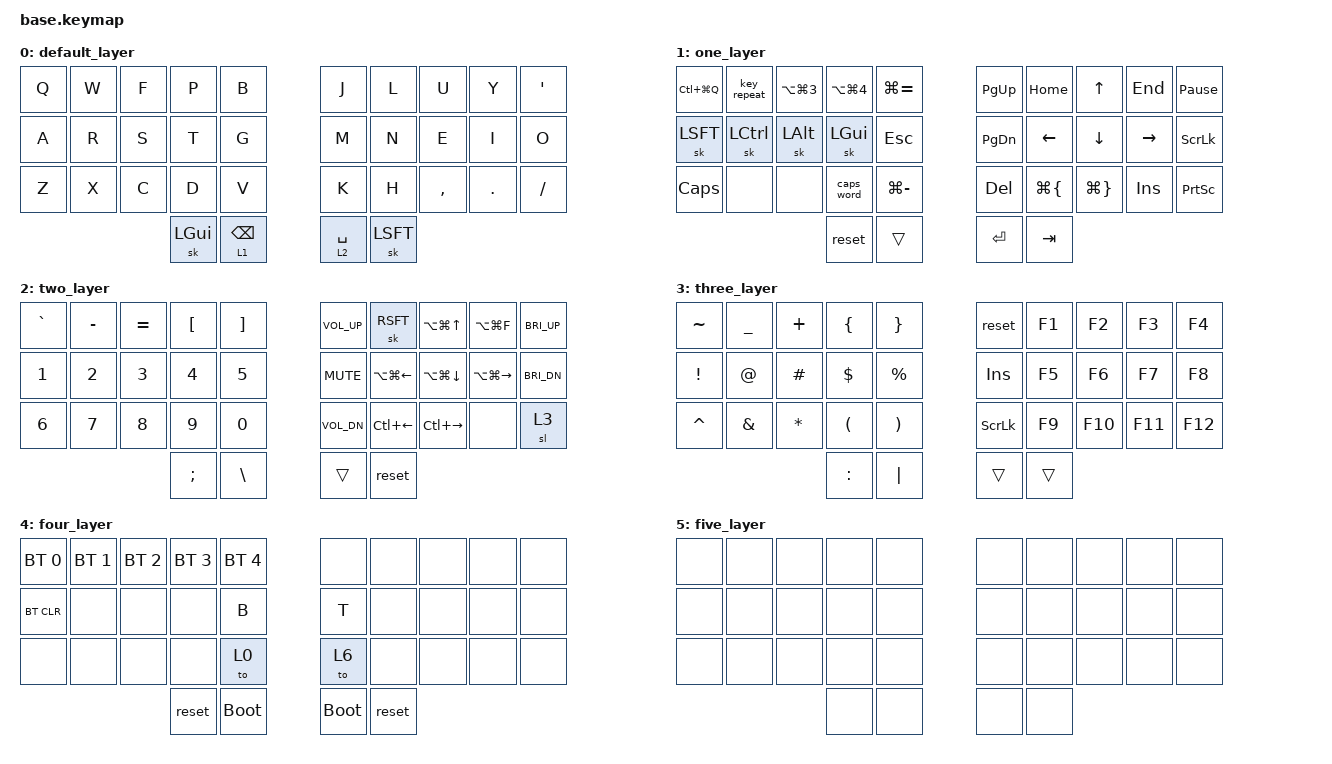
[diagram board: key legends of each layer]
/*
 * Copyright (c) 2020 The ZMK Contributors
 *
 * SPDX-License-Identifier: MIT
 */

#include <behaviors.dtsi>
#include <dt-bindings/zmk/keys.h>
#include <dt-bindings/zmk/bt.h>


&lt {
    flavor = "tap-preferred";
    tapping-term-ms = <250>;
    quick-tap-ms = <0>;
};

&caps_word {    
    continue-list = <BACKSPACE UNDERSCORE MINUS N1 N2 N3 N4 N5 N6 N7 N8 N9 N0>;
};

&sk {    
    release-after-ms = <2000>;
};

&sl {
    release-after-ms = <2000>;
};

/ { 

        combos {
            compatible = "zmk,combos";

            combo_default {
               timeout-ms = <50>;
               key-positions = <14 15>;
               bindings = <&to 0>;
            };

            combo_bluetooth {
               timeout-ms = <50>;
               key-positions = <24 25>;
               bindings = <&to 4>;
            };

            combo_blank {
               timeout-ms = <50>;
               key-positions = <4 5>;
               bindings = <&to 5>;
            };

        };

        keymap {
                compatible = "zmk,keymap";
                
            default_layer {
                bindings = <
                &kp Q &kp W &kp F &kp P &kp B    &kp J &kp L &kp U    &kp Y   &kp QUOT
                &kp A &kp R &kp S &kp T &kp G    &kp M &kp N &kp E    &kp I   &kp O
                &kp Z &kp X &kp C &kp D &kp V    &kp K &kp H &kp CMMA &kp DOT &kp FSLH
                &sk LGUI &lt 1 BSPC              &lt 2 SPC &sk LSFT
                >;
            };

            one_layer {
                bindings = <
                &kp LC(LG(Q)) &key_repeat &kp LA(LG(3)) &kp LA(LG(4)) &kp LG(EQUAL)  &kp PG_UP  &kp HOME     &kp UP       &kp END   &kp PAUSE_BREAK  
                &sk LSFT      &sk LCTL    &sk LALT      &sk LGUI      &kp ESC        &kp PG_DN  &kp LEFT     &kp DOWN     &kp RIGHT &kp SLCK  
                &kp CAPS      &none       &none         &caps_word    &kp LG(MINUS)  &kp DEL    &kp LG(LBRC) &kp LG(RBRC) &kp INS   &kp PSCRN 
                &reset &trans                                                        &kp RET &kp TAB                                       
                >;
            };

            two_layer {
                bindings = <
                &kp GRAVE &kp MINUS &kp EQUAL &kp LBKT  &kp RBKT   &kp C_VOL_UP  &sk RSFT         &kp LA(LG(UP))   &kp LA(LG(F))     &kp C_BRI_UP
                &kp NUM_1 &kp NUM_2 &kp NUM_3 &kp NUM_4 &kp NUM_5  &kp K_MUTE    &kp LA(LG(LEFT)) &kp LA(LG(DOWN)) &kp LA(LG(RIGHT)) &kp C_BRI_DN
                &kp NUM_6 &kp NUM_7 &kp NUM_8 &kp NUM_9 &kp NUM_0  &kp C_VOL_DN  &kp LC(LEFT)     &kp LC(RIGHT)    &none             &sl 3
                &kp SEMI  &kp BSLH                                 &trans        &reset 
                >;
            };       

            three_layer {
                bindings = <
                &kp TILDE &kp UNDER &kp PLUS &kp LBRC &kp RBRC   &reset   &kp F1 &kp F2  &kp F3  &kp F4
                &kp EXCL  &kp AT    &kp HASH &kp DLLR &kp PRCNT  &kp INS  &kp F5 &kp F6  &kp F7  &kp F8
                &kp CARET &kp AMPS  &kp STAR &kp LPAR &kp RPAR   &kp SLCK &kp F9 &kp F10 &kp F11 &kp F12
                &kp COLON &kp PIPE                               &trans   &trans 
                >;
            };    
        
            four_layer {
                bindings = <
                &bt BT_SEL 0  &bt BT_SEL 1 &bt BT_SEL 2 &bt BT_SEL 3 &bt BT_SEL 4  &none &none &none &none &none
                &bt BT_CLR    &none        &none        &none        &kp B         &kp T &none &none &none &none
                &none         &none        &none        &none        &to 0         &to 6 &none &none &none &none 
                &reset &bootloader                                                 &bootloader &reset
                >;
            };    

            five_layer {
                bindings = <
                &none &none &none &none &none    &none &none &none &none &none
                &none &none &none &none &none    &none &none &none &none &none
                &none &none &none &none &none    &none &none &none &none &none 
                &none &none                      &none &none
                >;
            };    
        };
};
